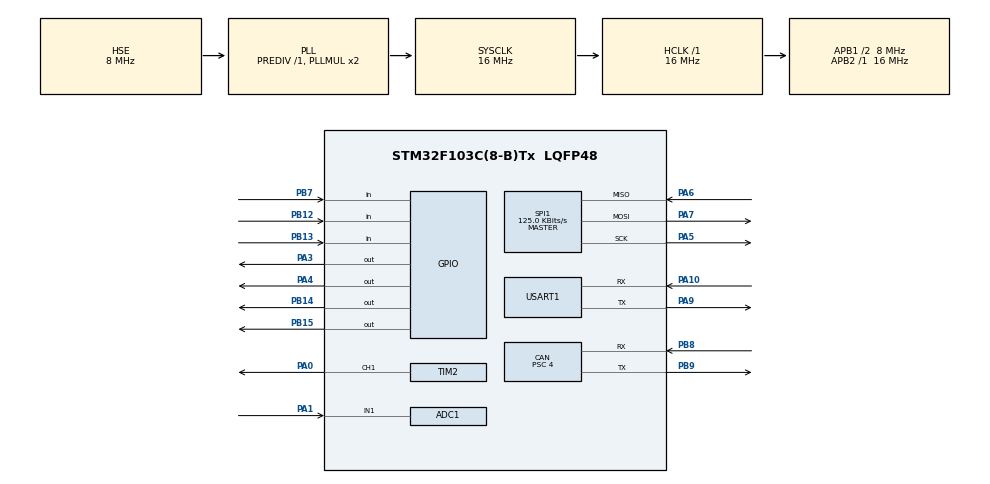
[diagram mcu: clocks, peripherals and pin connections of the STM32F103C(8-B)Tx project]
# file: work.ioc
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ADC1.Channel-1\#ChannelRegularConversion=ADC_CHANNEL_1
ADC1.ContinuousConvMode=ENABLE
ADC1.NbrOfConversionFlag=1
ADC1.Rank-1\#ChannelRegularConversion=1
ADC1.SamplingTime-1\#ChannelRegularConversion=ADC_SAMPLETIME_239CYCLES_5
ADC1.master=1
CAN.BS1=CAN_BS1_15TQ
CAN.BS2=CAN_BS2_2TQ
CAN.CalculateBaudRate=111111
CAN.CalculateTimeBit=9000
CAN.CalculateTimeQuantum=500.0
CAN.Prescaler=4
CAN.SJW=CAN_SJW_1TQ
Mcu.Family=STM32F1
Mcu.Name=STM32F103C(8-B)Tx
Mcu.Package=LQFP48
NVIC.PriorityGroup=NVIC_PRIORITYGROUP_4
NVIC.USART1_IRQn=true\:0\:0\:false\:false\:true\:true\:true\:true
NVIC.USB_LP_CAN1_RX0_IRQn=true\:0\:0\:false\:false\:true\:true\:true\:true
PA0-WKUP.Signal=S_TIM2_CH1_ETR
PA1.Signal=ADCx_IN1
PA10.Mode=Asynchronous
PA10.Signal=USART1_RX
PA13.Mode=Serial_Wire
PA13.Signal=SYS_JTMS-SWDIO
PA14.Mode=Serial_Wire
PA14.Signal=SYS_JTCK-SWCLK
PA3.Signal=GPIO_Output
PA4.Signal=GPIO_Output
PA5.Mode=Full_Duplex_Master
PA5.Signal=SPI1_SCK
PA6.Mode=Full_Duplex_Master
PA6.Signal=SPI1_MISO
PA7.Mode=Full_Duplex_Master
PA7.Signal=SPI1_MOSI
PA9.Mode=Asynchronous
PA9.Signal=USART1_TX
PB12.GPIO_PuPd=GPIO_PULLUP
PB12.Signal=GPIO_Input
PB13.Signal=GPIO_Input
PB14.Signal=GPIO_Output
PB15.Signal=GPIO_Output
PB7.Signal=GPIO_Input
PB8.Mode=CAN_Activate
PB8.Signal=CAN_RX
PB9.Mode=CAN_Activate
PB9.Signal=CAN_TX
PD0-OSC_IN.Mode=HSE-External-Oscillator
PD0-OSC_IN.Signal=RCC_OSC_IN
PD1-OSC_OUT.Mode=HSE-External-Oscillator
PD1-OSC_OUT.Signal=RCC_OSC_OUT
ProjectManager.HeapSize=0x200
ProjectManager.StackSize=0x400
ProjectManager.TargetToolchain=STM32CubeIDE
RCC.AHBFreq_Value=16000000
RCC.APB1CLKDivider=RCC_HCLK_DIV2
RCC.APB1Freq_Value=8000000
RCC.APB1TimFreq_Value=16000000
RCC.APB2Freq_Value=16000000
RCC.APB2TimFreq_Value=16000000
RCC.HCLKFreq_Value=16000000
RCC.PLLSourceVirtual=RCC_PLLSOURCE_HSE
RCC.SYSCLKFreq_VALUE=16000000
RCC.SYSCLKSource=RCC_SYSCLKSOURCE_PLLCLK
RCC.USBFreq_Value=16000000
SH.ADCx_IN1.0=ADC1_IN1,IN1
SH.S_TIM2_CH1_ETR.0=TIM2_CH1,PWM Generation1 CH1
SPI1.BaudRatePrescaler=SPI_BAUDRATEPRESCALER_128
SPI1.CalculateBaudRate=125.0 KBits/s
SPI1.Direction=SPI_DIRECTION_2LINES
SPI1.Mode=SPI_MODE_MASTER
SPI1.VirtualType=VM_MASTER
TIM2.Channel-PWM\ Generation1\ CH1=TIM_CHANNEL_1
TIM2.Period=1000-1
TIM2.Prescaler=16-1
USART1.VirtualMode=VM_ASYNC
board=custom

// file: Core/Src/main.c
/* USER CODE BEGIN Header */
/**
  ******************************************************************************
  * @file           : main.c
  * @brief          : Main program body
  ******************************************************************************
  * @attention
  *
  * Copyright (c) 2023 STMicroelectronics.
  * All rights reserved.
  *
  * This software is licensed under terms that can be found in the LICENSE file
  * in the root directory of this software component.
  * If no LICENSE file comes with this software, it is provided AS-IS.
  *
  ******************************************************************************
  */
/* USER CODE END Header */
#include "main.h"

/* USER CODE BEGIN Includes */
#include "work.h"
/* USER CODE END Includes */

ADC_HandleTypeDef hadc1;

CAN_HandleTypeDef hcan;

SPI_HandleTypeDef hspi1;

TIM_HandleTypeDef htim2;

UART_HandleTypeDef huart1;

void SystemClock_Config(void);
static void MX_GPIO_Init(void);
static void MX_CAN_Init(void);
static void MX_USART1_UART_Init(void);
static void MX_SPI1_Init(void);
static void MX_ADC1_Init(void);
static void MX_TIM2_Init(void);

int main(void)
{

  /* MCU Configuration--------------------------------------------------------*/

  /* Reset of all peripherals, Initializes the Flash interface and the Systick. */
  HAL_Init();

  /* Configure the system clock */
  SystemClock_Config();

  /* Initialize all configured peripherals */
  MX_GPIO_Init();
  MX_CAN_Init();
  MX_USART1_UART_Init();
  MX_SPI1_Init();
  MX_ADC1_Init();
  MX_TIM2_Init();
  /* USER CODE BEGIN 2 */
  InitWork();

  /* USER CODE END 2 */

  /* Infinite loop */
  /* USER CODE BEGIN WHILE */
  while (1)
  {
	  DoWork();

    /* USER CODE END WHILE */

  }
}

void SystemClock_Config(void)
{
  RCC_OscInitTypeDef RCC_OscInitStruct = {0};
  RCC_ClkInitTypeDef RCC_ClkInitStruct = {0};
  RCC_PeriphCLKInitTypeDef PeriphClkInit = {0};

  /** Initializes the RCC Oscillators according to the specified parameters
  * in the RCC_OscInitTypeDef structure.
  */
  RCC_OscInitStruct.OscillatorType = RCC_OSCILLATORTYPE_HSE;
  RCC_OscInitStruct.HSEState = RCC_HSE_ON;
  RCC_OscInitStruct.HSEPredivValue = RCC_HSE_PREDIV_DIV1;
  RCC_OscInitStruct.HSIState = RCC_HSI_ON;
  RCC_OscInitStruct.PLL.PLLState = RCC_PLL_ON;
  RCC_OscInitStruct.PLL.PLLSource = RCC_PLLSOURCE_HSE;
  RCC_OscInitStruct.PLL.PLLMUL = RCC_PLL_MUL2;
  if (HAL_RCC_OscConfig(&RCC_OscInitStruct) != HAL_OK)
  {
    Error_Handler();
  }

  /** Initializes the CPU, AHB and APB buses clocks
  */
  RCC_ClkInitStruct.ClockType = RCC_CLOCKTYPE_HCLK|RCC_CLOCKTYPE_SYSCLK
                              |RCC_CLOCKTYPE_PCLK1|RCC_CLOCKTYPE_PCLK2;
  RCC_ClkInitStruct.SYSCLKSource = RCC_SYSCLKSOURCE_PLLCLK;
  RCC_ClkInitStruct.AHBCLKDivider = RCC_SYSCLK_DIV1;
  RCC_ClkInitStruct.APB1CLKDivider = RCC_HCLK_DIV2;
  RCC_ClkInitStruct.APB2CLKDivider = RCC_HCLK_DIV1;

  if (HAL_RCC_ClockConfig(&RCC_ClkInitStruct, FLASH_LATENCY_0) != HAL_OK)
  {
    Error_Handler();
  }
  PeriphClkInit.PeriphClockSelection = RCC_PERIPHCLK_ADC;
  PeriphClkInit.AdcClockSelection = RCC_ADCPCLK2_DIV2;
  if (HAL_RCCEx_PeriphCLKConfig(&PeriphClkInit) != HAL_OK)
  {
    Error_Handler();
  }
}

static void MX_ADC1_Init(void)
{

  ADC_ChannelConfTypeDef sConfig = {0};

  /** Common config
  */
  hadc1.Instance = ADC1;
  hadc1.Init.ScanConvMode = ADC_SCAN_DISABLE;
  hadc1.Init.ContinuousConvMode = ENABLE;
  hadc1.Init.DiscontinuousConvMode = DISABLE;
  hadc1.Init.ExternalTrigConv = ADC_SOFTWARE_START;
  hadc1.Init.DataAlign = ADC_DATAALIGN_RIGHT;
  hadc1.Init.NbrOfConversion = 1;
  if (HAL_ADC_Init(&hadc1) != HAL_OK)
  {
    Error_Handler();
  }

  /** Configure Regular Channel
  */
  sConfig.Channel = ADC_CHANNEL_1;
  sConfig.Rank = ADC_REGULAR_RANK_1;
  sConfig.SamplingTime = ADC_SAMPLETIME_239CYCLES_5;
  if (HAL_ADC_ConfigChannel(&hadc1, &sConfig) != HAL_OK)
  {
    Error_Handler();
  }

}

static void MX_CAN_Init(void)
{

  hcan.Instance = CAN1;
  hcan.Init.Prescaler = 4;
  hcan.Init.Mode = CAN_MODE_NORMAL;
  hcan.Init.SyncJumpWidth = CAN_SJW_1TQ;
  hcan.Init.TimeSeg1 = CAN_BS1_15TQ;
  hcan.Init.TimeSeg2 = CAN_BS2_2TQ;
  hcan.Init.TimeTriggeredMode = DISABLE;
  hcan.Init.AutoBusOff = DISABLE;
  hcan.Init.AutoWakeUp = DISABLE;
  hcan.Init.AutoRetransmission = DISABLE;
  hcan.Init.ReceiveFifoLocked = DISABLE;
  hcan.Init.TransmitFifoPriority = DISABLE;
  if (HAL_CAN_Init(&hcan) != HAL_OK)
  {
    Error_Handler();
  }
  /* USER CODE BEGIN CAN_Init 2 */
  CAN_FilterTypeDef  sFilterConfig;
  sFilterConfig.FilterBank = 0;
  sFilterConfig.FilterMode = CAN_FILTERMODE_IDMASK;
  sFilterConfig.FilterScale = CAN_FILTERSCALE_32BIT;
  sFilterConfig.FilterIdHigh = 0x0000;
  sFilterConfig.FilterIdLow = 0x0000;
  sFilterConfig.FilterMaskIdHigh = 0x0000;
  sFilterConfig.FilterMaskIdLow = 0x0000;
  sFilterConfig.FilterFIFOAssignment = CAN_RX_FIFO0;
  sFilterConfig.FilterActivation = ENABLE;
  sFilterConfig.SlaveStartFilterBank = 14;

  if (HAL_CAN_ConfigFilter(&hcan, &sFilterConfig) != HAL_OK)
  {
    /* Filter configuration Error */
    Error_Handler();
  }
  /* USER CODE END CAN_Init 2 */

}

static void MX_SPI1_Init(void)
{

  /* SPI1 parameter configuration*/
  hspi1.Instance = SPI1;
  hspi1.Init.Mode = SPI_MODE_MASTER;
  hspi1.Init.Direction = SPI_DIRECTION_2LINES;
  hspi1.Init.DataSize = SPI_DATASIZE_8BIT;
  hspi1.Init.CLKPolarity = SPI_POLARITY_LOW;
  hspi1.Init.CLKPhase = SPI_PHASE_1EDGE;
  hspi1.Init.NSS = SPI_NSS_SOFT;
  hspi1.Init.BaudRatePrescaler = SPI_BAUDRATEPRESCALER_128;
  hspi1.Init.FirstBit = SPI_FIRSTBIT_MSB;
  hspi1.Init.TIMode = SPI_TIMODE_DISABLE;
  hspi1.Init.CRCCalculation = SPI_CRCCALCULATION_DISABLE;
  hspi1.Init.CRCPolynomial = 10;
  if (HAL_SPI_Init(&hspi1) != HAL_OK)
  {
    Error_Handler();
  }

}

static void MX_TIM2_Init(void)
{

  TIM_MasterConfigTypeDef sMasterConfig = {0};
  TIM_OC_InitTypeDef sConfigOC = {0};

  htim2.Instance = TIM2;
  htim2.Init.Prescaler = 16-1;
  htim2.Init.CounterMode = TIM_COUNTERMODE_UP;
  htim2.Init.Period = 1000-1;
  htim2.Init.ClockDivision = TIM_CLOCKDIVISION_DIV1;
  htim2.Init.AutoReloadPreload = TIM_AUTORELOAD_PRELOAD_DISABLE;
  if (HAL_TIM_PWM_Init(&htim2) != HAL_OK)
  {
    Error_Handler();
  }
  sMasterConfig.MasterOutputTrigger = TIM_TRGO_RESET;
  sMasterConfig.MasterSlaveMode = TIM_MASTERSLAVEMODE_DISABLE;
  if (HAL_TIMEx_MasterConfigSynchronization(&htim2, &sMasterConfig) != HAL_OK)
  {
    Error_Handler();
  }
  sConfigOC.OCMode = TIM_OCMODE_PWM1;
  sConfigOC.Pulse = 0;
  sConfigOC.OCPolarity = TIM_OCPOLARITY_HIGH;
  sConfigOC.OCFastMode = TIM_OCFAST_DISABLE;
  if (HAL_TIM_PWM_ConfigChannel(&htim2, &sConfigOC, TIM_CHANNEL_1) != HAL_OK)
  {
    Error_Handler();
  }
  HAL_TIM_MspPostInit(&htim2);

}

static void MX_USART1_UART_Init(void)
{

  huart1.Instance = USART1;
  huart1.Init.BaudRate = 115200;
  huart1.Init.WordLength = UART_WORDLENGTH_8B;
  huart1.Init.StopBits = UART_STOPBITS_1;
  huart1.Init.Parity = UART_PARITY_NONE;
  huart1.Init.Mode = UART_MODE_TX_RX;
  huart1.Init.HwFlowCtl = UART_HWCONTROL_NONE;
  huart1.Init.OverSampling = UART_OVERSAMPLING_16;
  if (HAL_UART_Init(&huart1) != HAL_OK)
  {
    Error_Handler();
  }

}

static void MX_GPIO_Init(void)
{
  GPIO_InitTypeDef GPIO_InitStruct = {0};

  /* GPIO Ports Clock Enable */
  __HAL_RCC_GPIOD_CLK_ENABLE();
  __HAL_RCC_GPIOA_CLK_ENABLE();
  __HAL_RCC_GPIOB_CLK_ENABLE();

  /*Configure GPIO pin Output Level */
  HAL_GPIO_WritePin(GPIOA, GPIO_PIN_3|GPIO_PIN_4, GPIO_PIN_RESET);

  /*Configure GPIO pin Output Level */
  HAL_GPIO_WritePin(GPIOB, GPIO_PIN_14|GPIO_PIN_15, GPIO_PIN_RESET);

  /*Configure GPIO pins : PA3 PA4 */
  GPIO_InitStruct.Pin = GPIO_PIN_3|GPIO_PIN_4;
  GPIO_InitStruct.Mode = GPIO_MODE_OUTPUT_PP;
  GPIO_InitStruct.Pull = GPIO_NOPULL;
  GPIO_InitStruct.Speed = GPIO_SPEED_FREQ_LOW;
  HAL_GPIO_Init(GPIOA, &GPIO_InitStruct);

  /*Configure GPIO pin : PB12 */
  GPIO_InitStruct.Pin = GPIO_PIN_12;
  GPIO_InitStruct.Mode = GPIO_MODE_INPUT;
  GPIO_InitStruct.Pull = GPIO_PULLUP;
  HAL_GPIO_Init(GPIOB, &GPIO_InitStruct);

  /*Configure GPIO pins : PB13 PB7 */
  GPIO_InitStruct.Pin = GPIO_PIN_13|GPIO_PIN_7;
  GPIO_InitStruct.Mode = GPIO_MODE_INPUT;
  GPIO_InitStruct.Pull = GPIO_NOPULL;
  HAL_GPIO_Init(GPIOB, &GPIO_InitStruct);

  /*Configure GPIO pins : PB14 PB15 */
  GPIO_InitStruct.Pin = GPIO_PIN_14|GPIO_PIN_15;
  GPIO_InitStruct.Mode = GPIO_MODE_OUTPUT_PP;
  GPIO_InitStruct.Pull = GPIO_NOPULL;
  GPIO_InitStruct.Speed = GPIO_SPEED_FREQ_LOW;
  HAL_GPIO_Init(GPIOB, &GPIO_InitStruct);

}

void Error_Handler(void)
{
  __disable_irq();
  while (1)
  {
  }
}
